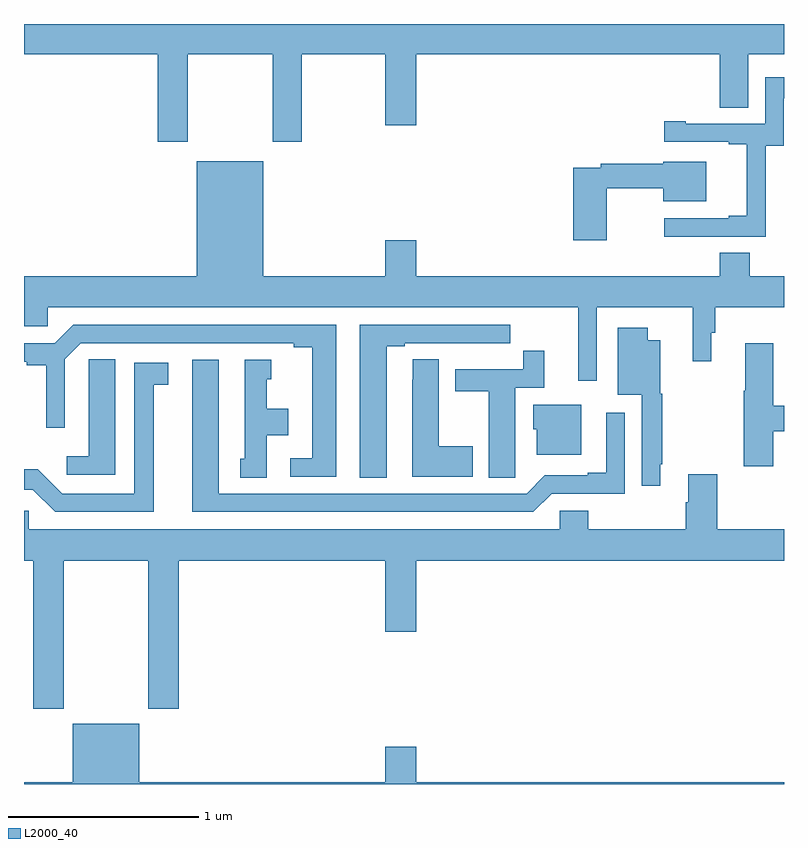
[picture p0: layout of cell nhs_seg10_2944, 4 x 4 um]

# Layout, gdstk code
import gdstk
lib = gdstk.Library(unit=1e-6, precision=1e-09)
def P(c, l, *ps):  # polygons
    for p in ps: c.add(gdstk.Polygon(p, *l))
L2000_40 = (2000, 40)

nhs_seg10_2944 = lib.new_cell('nhs_seg10_2944')
P(nhs_seg10_2944, L2000_40, [(271.863,1276.34),(272.308,1276.34),(272.308,1275.879),(272.463,1275.879),(272.463,1276.34),(272.9,1276.34),(272.9,1275.966),(273.064,1275.966),(273.064,1276.34),(274.661,1276.34),(274.661,1276.06),(274.813,1276.06),(274.813,1276.34),(275,1276.34),(275,1276.5),(271,1276.5),(271,1276.34),(271.703,1276.34),(271.703,1275.879),(271.863,1275.879)],
  [(274.905,1275.859),(274.999,1275.859),(274.999,1276.11),(275,1276.11),(275,1276.221),(274.902,1276.221),(274.902,1275.975),(274.483,1275.975),(274.483,1275.988),(274.371,1275.988),(274.371,1275.879),(274.709,1275.879),(274.709,1275.867),(274.805,1275.867),(274.805,1275.49),(274.709,1275.49),(274.709,1275.477),(274.371,1275.477),(274.371,1275.381),(274.905,1275.381)],
  [(274.014,1275.008),(274.519,1275.008),(274.519,1274.724),(274.618,1274.724),(274.618,1274.874),(274.637,1274.874),(274.637,1275.008),(275,1275.008),(275,1275.172),(274.821,1275.172),(274.821,1275.296),(274.661,1275.296),(274.661,1275.172),(273.064,1275.172),(273.064,1275.361),(272.9,1275.361),(272.9,1275.172),(272.26,1275.172),(272.26,1275.778),(271.91,1275.778),(271.91,1275.172),(271,1275.172),(271,1274.91),(271.125,1274.91),(271.125,1275.008),(273.917,1275.008),(273.917,1274.622),(274.014,1274.622)],
  [(274.068,1275.636),(274.364,1275.636),(274.364,1275.566),(274.591,1275.566),(274.591,1275.775),(274.364,1275.775),(274.364,1275.764),(274.036,1275.764),(274.036,1275.744),(273.89,1275.744),(273.89,1275.363),(274.068,1275.363)],
  [(272.908,1274.805),(273.004,1274.805),(273.004,1274.82),(273.28,1274.82),(273.28,1274.819),(273.446,1274.819),(273.446,1274.82),(273.559,1274.82),(273.559,1274.916),(272.768,1274.916),(272.768,1274.113),(272.908,1274.113)],
  [(272.644,1274.916),(271.259,1274.916),(271.163,1274.82),(271,1274.82),(271,1274.723),(271.014,1274.723),(271.014,1274.704),(271.118,1274.704),(271.118,1274.376),(271.215,1274.376),(271.215,1274.736),(271.299,1274.82),(272.42,1274.82),(272.42,1274.8),(272.516,1274.8),(272.516,1274.214),(272.4,1274.214),(272.4,1274.118),(272.644,1274.118)],
  [(274.348,1274.182),(274.36,1274.182),(274.36,1274.553),(274.348,1274.553),(274.348,1274.836),(274.282,1274.836),(274.282,1274.902),(274.124,1274.902),(274.124,1274.549),(274.251,1274.549),(274.251,1274.07),(274.348,1274.07)],
  [(274.943,1274.356),(275,1274.356),(275,1274.492),(274.943,1274.492),(274.943,1274.821),(274.796,1274.821),(274.796,1274.569),(274.789,1274.569),(274.789,1274.172),(274.943,1274.172)],
  [(273.585,1274.224),(273.586,1274.224),(273.586,1274.586),(273.737,1274.586),(273.737,1274.779),(273.628,1274.779),(273.628,1274.682),(273.269,1274.682),(273.269,1274.566),(273.446,1274.566),(273.446,1274.113),(273.585,1274.113)],
  [(273.361,1274.277),(273.184,1274.277),(273.184,1274.735),(273.045,1274.735),(273.045,1274.627),(273.044,1274.627),(273.044,1274.117),(273.361,1274.117)],
  [(271.48,1274.735),(271.341,1274.735),(271.341,1274.627),(271.34,1274.627),(271.34,1274.224),(271.224,1274.224),(271.224,1274.127),(271.48,1274.127)],
  [(273.777,1274.028),(274.161,1274.028),(274.161,1274.455),(274.064,1274.455),(274.064,1274.137),(273.968,1274.137),(273.968,1274.124),(273.741,1274.124),(273.645,1274.028),(272.026,1274.028),(272.026,1274.734),(271.886,1274.734),(271.886,1273.932),(273.681,1273.932)],
  [(272.278,1274.336),(272.392,1274.336),(272.392,1274.476),(272.278,1274.476),(272.278,1274.631),(272.302,1274.631),(272.302,1274.734),(272.162,1274.734),(272.162,1274.211),(272.138,1274.211),(272.138,1274.113),(272.278,1274.113)],
  [(271.684,1274.602),(271.759,1274.602),(271.759,1274.718),(271.58,1274.718),(271.58,1274.028),(271.2,1274.028),(271.072,1274.156),(271,1274.156),(271,1274.049),(271.047,1274.049),(271.164,1273.932),(271.684,1273.932)],
  [(273.934,1274.497),(273.68,1274.497),(273.68,1274.367),(273.698,1274.367),(273.698,1274.234),(273.934,1274.234)],
  [(271.209,1273.676),(271.654,1273.676),(271.654,1272.897),(271.814,1272.897),(271.814,1273.676),(272.9,1273.676),(272.9,1273.302),(273.064,1273.302),(273.064,1273.676),(275,1273.676),(275,1273.84),(274.649,1273.84),(274.649,1274.131),(274.496,1274.131),(274.496,1273.982),(274.484,1273.982),(274.484,1273.84),(273.971,1273.84),(273.971,1273.938),(273.819,1273.938),(273.819,1273.84),(271.026,1273.84),(271.026,1273.938),(271,1273.938),(271,1273.676),(271.049,1273.676),(271.049,1272.897),(271.209,1272.897)],
  [(273.064,1272.697),(272.9,1272.697),(272.9,1272.508),(271.606,1272.508),(271.606,1272.817),(271.256,1272.817),(271.256,1272.508),(271,1272.508),(271,1272.5),(275,1272.5),(275,1272.508),(273.064,1272.508)])

lib.write_gds('nhs_seg10_2944.gds')
